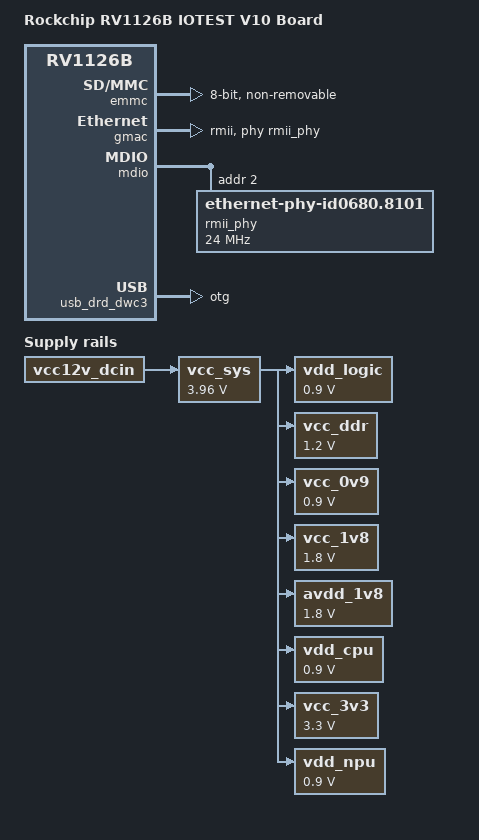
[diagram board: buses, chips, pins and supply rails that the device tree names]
// SPDX-License-Identifier: (GPL-2.0+ OR MIT)
/*
 * Copyright (c) 2025 Rockchip Electronics Co., Ltd.
 */

/dts-v1/;
#include "rv1126b.dtsi"
#include "rv1126b-evb.dtsi"

/ {
	model = "Rockchip RV1126B IOTEST V10 Board";
	compatible = "rockchip,rv1126b-iotest-v10", "rockchip,rv1126b";

	vcc_sys: vcc-sys {
		compatible = "regulator-fixed";
		regulator-name = "vcc_sys";
		regulator-always-on;
		regulator-boot-on;
		regulator-min-microvolt = <3960000>;
		regulator-max-microvolt = <3960000>;
		vin-supply = <&vcc12v_dcin>;
	};

	vdd_logic: vdd-logic {
		compatible = "regulator-fixed";
		regulator-name = "vdd_logic";
		regulator-always-on;
		regulator-boot-on;
		regulator-min-microvolt = <900000>;
		regulator-max-microvolt = <900000>;
		vin-supply = <&vcc_sys>;
	};

	vcc_ddr: vcc_ddr {
		compatible = "regulator-fixed";
		regulator-name = "vcc_ddr";
		regulator-always-on;
		regulator-boot-on;
		regulator-min-microvolt = <1200000>;
		regulator-max-microvolt = <1200000>;
		vin-supply = <&vcc_sys>;
	};

	vcc_0v9: vcc-0v9 {
		compatible = "regulator-fixed";
		regulator-name = "vcc_0v9";
		regulator-always-on;
		regulator-boot-on;
		regulator-min-microvolt = <900000>;
		regulator-max-microvolt = <900000>;
		vin-supply = <&vcc_sys>;
	};

	vcc_1v8: vcc-1v8 {
		compatible = "regulator-fixed";
		regulator-name = "vcc_1v8";
		regulator-always-on;
		regulator-boot-on;
		regulator-min-microvolt = <1800000>;
		regulator-max-microvolt = <1800000>;
		vin-supply = <&vcc_sys>;
	};

	avdd_1v8: vcc-1v8 {
		compatible = "regulator-fixed";
		regulator-name = "avdd_1v8";
		regulator-always-on;
		regulator-boot-on;
		regulator-min-microvolt = <1800000>;
		regulator-max-microvolt = <1800000>;
		vin-supply = <&vcc_sys>;
	};

	vdd_cpu: vdd-cpu {
		compatible = "regulator-fixed";
		regulator-name = "vdd_cpu";
		regulator-always-on;
		regulator-boot-on;
		regulator-min-microvolt = <900000>;
		regulator-max-microvolt = <900000>;
		vin-supply = <&vcc_sys>;
	};

	vcc_3v3: vcc3v3_dev: vcc-3v3 {
		compatible = "regulator-fixed";
		regulator-name = "vcc_3v3";
		regulator-always-on;
		regulator-boot-on;
		regulator-min-microvolt = <3300000>;
		regulator-max-microvolt = <3300000>;
		vin-supply = <&vcc_sys>;
	};

	vdd_npu: vdd-npu {
		compatible = "regulator-fixed";
		regulator-name = "vdd_npu";
		regulator-always-on;
		regulator-boot-on;
		regulator-min-microvolt = <900000>;
		regulator-max-microvolt = <900000>;
		vin-supply = <&vcc_sys>;
	};
};

&cpu0 {
	cpu-supply = <&vdd_cpu>;
};

&emmc {
	bus-width = <8>;
	cap-mmc-highspeed;
	non-removable;
	mmc-hs200-1_8v;
	rockchip,default-sample-phase = <90>;
	no-sdio;
	no-sd;
	status = "okay";
};

&gmac {
	phy-mode = "rmii";
	clock_in_out = "input";
	phy-handle = <&rmii_phy>;
	status = "okay";
};

&mdio {
	rmii_phy: ethernet-phy@2 {
		compatible = "ethernet-phy-id0680.8101", "ethernet-phy-ieee802.3-c22";
		reg = <2>;
		clocks = <&cru CLK_MACPHY>;
		clock-frequency = <24000000>;
		resets = <&cru SRST_RESETN_MACPHY>;
		phy-is-integrated;
	};
};

&rknpu {
	rknpu-supply = <&vdd_npu>;
};

&usb_drd_dwc3 {
	dr_mode = "otg";
	extcon = <&usb2phy>;
};
